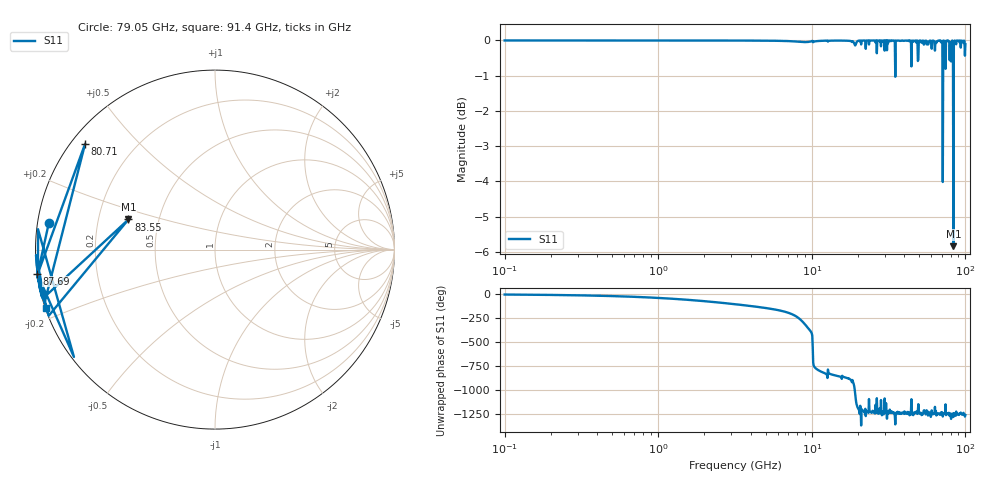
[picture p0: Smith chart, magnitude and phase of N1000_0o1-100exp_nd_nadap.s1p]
! Sonnet Data File
! From: em Version : 18.56
! From Project: N1000_0o1-100exp_nd_nadap
! Data is De-embedded
! Data File Written: 03/05/2023 08:22:15
!< HDATE 03/04/2023 10:23:07
!< MDATE 03/04/2023 10:23:07
# GHZ S MA R 50.00000
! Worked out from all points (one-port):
!   1000 points, 100 MHz to 100 GHz, reference 50 ohm
!   lowest |S11| = -5.8 dB at 83.55 GHz (marker M1), VSWR 3.09, Z = 16.6 + j7.54 ohm
!   |S11| at or under -10 dB: nowhere
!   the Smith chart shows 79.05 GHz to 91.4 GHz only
!   S11 on the Smith chart (normalised r, x): 79.05 GHz: 0.03, +0.08; 80.71 GHz: 0.04, +0.36; 83.55 GHz: 0.33, +0.15; 87.69 GHz: 0.00, -0.07; 91.4 GHz: 0.00, -0.17
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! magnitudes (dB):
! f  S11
! 100 MHz  0.0
! 237.3 MHz  0.0
! 563.3 MHz  0.0
! 1.337 GHz  0.0
! 3.173 GHz  0.0
! 7.531 GHz  0.0
! 17.88 GHz  0.0
! 30.23 GHz  0.0
! 33.31 GHz  0.0
! 34.24 GHz  0.0
! 36.44 GHz  0.0
! 42.43 GHz  0.0
! 50.78 GHz  0.0
! 51.49 GHz  0.0
! 68.37 GHz  0.0
! 68.84 GHz  0.0
! 71.76 GHz  0.0
! 73.77 GHz  0.0
! 74.28 GHz  -0.8
! 79.05 GHz  -0.6
! 80.15 GHz  -0.1
! 80.71 GHz  -0.6
! 83.55 GHz  -5.8
! 86.48 GHz  -0.1
! 87.08 GHz  -0.1
! 87.69 GHz  0.0
! 91.4 GHz  -0.1
! 100 GHz  -0.1
